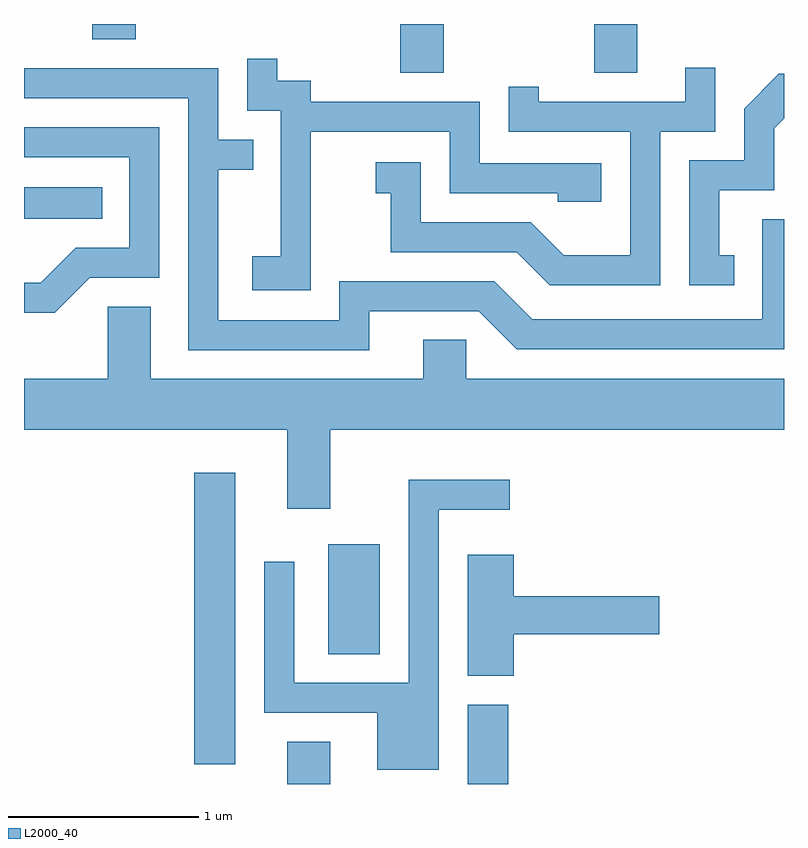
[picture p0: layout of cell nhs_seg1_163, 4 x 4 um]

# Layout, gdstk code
import gdstk
lib = gdstk.Library(unit=1e-6, precision=1e-09)
def R(c, l, rs):  # rectangles x0, y0, x1, y1
    for r in rs: c.add(gdstk.rectangle(r[:2], r[2:], *l))
def P(c, l, *ps):  # polygons
    for p in ps: c.add(gdstk.Polygon(p, *l))
L2000_40 = (2000, 40)

nhs_seg1_163 = lib.new_cell('nhs_seg1_163')
R(nhs_seg1_163, L2000_40, [(190.996,897.712,191.224,897.934), (191.946,897.712,192.159,898.129), (190.506,897.816,190.724,899.349), (191.211,898.396,191.484,898.974), (189.611,900.686,190.023,900.854), (191.591,901.456,191.819,901.712), (192.611,901.456,192.839,901.712), (189.971,901.631,190.199,901.712)])
P(nhs_seg1_163, L2000_40, [(191.119,901.146),(191.851,901.146),(191.851,900.821),(192.421,900.821),(192.421,900.776),(192.649,900.776),(192.649,900.979),(192.009,900.979),(192.009,901.304),(191.119,901.304),(191.119,901.414),(190.944,901.414),(190.944,901.528),(190.786,901.528),(190.786,901.256),(190.961,901.256),(190.961,900.489),(190.811,900.489),(190.811,900.311),(191.119,900.311)],
  [(192.959,901.146),(193.249,901.146),(193.249,901.483),(193.091,901.483),(193.091,901.304),(192.319,901.304),(192.319,901.383),(192.161,901.383),(192.161,901.146),(192.801,901.146),(192.801,900.494),(192.452,900.494),(192.277,900.669),(191.699,900.669),(191.699,900.984),(191.463,900.984),(191.463,900.821),(191.541,900.821),(191.541,900.511),(192.204,900.511),(192.379,900.336),(192.959,900.336)],
  [(191.429,900.201),(192.004,900.201),(192.204,900.001),(193.611,900.001),(193.611,900.684),(193.496,900.684),(193.496,900.159),(192.287,900.159),(192.087,900.359),(191.271,900.359),(191.271,900.154),(190.634,900.154),(190.634,900.946),(190.818,900.946),(190.818,901.104),(190.634,901.104),(190.634,901.479),(189.611,901.479),(189.611,901.321),(190.476,901.321),(190.476,899.996),(191.429,899.996)],
  [(193.348,900.494),(193.269,900.494),(193.269,900.836),(193.559,900.836),(193.559,901.164),(193.611,901.216),(193.611,901.449),(193.584,901.449),(193.401,901.267),(193.401,900.994),(193.111,900.994),(193.111,900.336),(193.348,900.336)],
  [(189.957,900.376),(190.324,900.376),(190.324,901.169),(189.611,901.169),(189.611,901.011),(190.166,901.011),(190.166,900.534),(189.884,900.534),(189.699,900.349),(189.611,900.349),(189.611,900.191),(189.772,900.191)],
  [(191.224,899.576),(193.611,899.576),(193.611,899.844),(191.939,899.844),(191.939,900.049),(191.711,900.049),(191.711,899.844),(190.279,899.844),(190.279,900.224),(190.051,900.224),(190.051,899.844),(189.611,899.844),(189.611,899.576),(190.996,899.576),(190.996,899.161),(191.224,899.161)],
  [(191.794,899.156),(192.168,899.156),(192.168,899.314),(191.636,899.314),(191.636,898.244),(191.034,898.244),(191.034,898.883),(190.876,898.883),(190.876,898.086),(191.471,898.086),(191.471,897.786),(191.794,897.786)],
  [(192.189,898.501),(192.954,898.501),(192.954,898.699),(192.189,898.699),(192.189,898.919),(191.946,898.919),(191.946,898.281),(192.189,898.281)])

lib.write_gds('nhs_seg1_163.gds')
